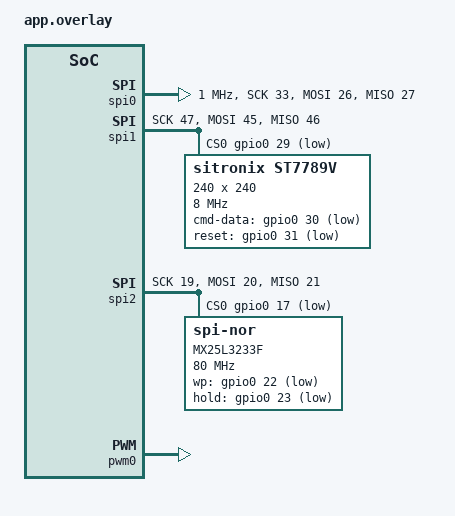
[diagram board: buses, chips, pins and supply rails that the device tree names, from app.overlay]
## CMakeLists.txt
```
# SPDX-License-Identifier: Apache-2.0

cmake_minimum_required(VERSION 3.13.1)

find_package(Zephyr REQUIRED HINTS $ENV{ZEPHYR_BASE})
project(DAC)

target_sources(app PRIVATE src/main.c)

zephyr_library_include_directories(
  src/events
  configuration
  )

add_subdirectory(src/events)
add_subdirectory(src/modules)
```

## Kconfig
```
menu "Press application"
rsource "src/modules/Kconfig"
rsource "src/events/Kconfig"
endmenu

menu "Zephyr Kernel"
source "Kconfig.zephyr"
endmenu
```

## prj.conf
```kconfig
#CONFIG_NO_OPTIMIZATIONS=y
CONFIG_HEAP_MEM_POOL_SIZE=8192
CONFIG_SYSTEM_WORKQUEUE_STACK_SIZE=2048

CONFIG_ASSERT=y

CONFIG_EVENT_MANAGER=y
CONFIG_LINKER_ORPHAN_SECTION_PLACE=y

CONFIG_LOG=y
CONFIG_LOG_PROCESS_THREAD_STACK_SIZE=2048
CONFIG_LOG_STRDUP_BUF_COUNT=64
CONFIG_USE_SEGGER_RTT=y
CONFIG_LOG_BACKEND_RTT=y
CONFIG_LOG_BACKEND_RTT_MODE_DROP=y

CONFIG_PRESS_LOG_MODULE_STATE_EVENT=y
CONFIG_PRESS_LOG_POTMETER_CTRL_EVENT=y
CONFIG_PRESS_LOG_POTMETER_DATA_EVENT=y
CONFIG_PRESS_LOG_HX711_DATA_EVENT=y
CONFIG_PRESS_LOG_TB6612FNG_CTRL_EVENT=y

CONFIG_PRESS_HX711_SENSOR_CHN_A_ENABLE=y
CONFIG_PRESS_HX711_SENSOR_CHN_B_ENABLE=n
CONFIG_PRESS_HX711_SENSOR_CHN_A_GAIN_128=y

CONFIG_DISPLAY_REFRESH_RATE=30

CONFIG_CONTROLLER_CYCLE=2500
CONFIG_CONTROLLER_HYSTERESIS=250

CONFIG_POTMETER_STEP_COUNT=100

CONFIG_ADC=y
CONFIG_GPIO=y
CONFIG_SPI=y
CONFIG_PWM=y
CONFIG_SERIAL=n

CONFIG_NRFX_SPI0=y
CONFIG_NRFX_SPI1=y
CONFIG_NRFX_SPI2=y

CONFIG_FLASH=y
CONFIG_SPI_NOR=y

CONFIG_DISPLAY=y
CONFIG_ST7789V=y
CONFIG_ST7789V_RGB565=y

CONFIG_LVGL=y
CONFIG_LVGL_USE_LABEL=y
CONFIG_LVGL_USE_CONT=y
CONFIG_LVGL_USE_BTN=y
CONFIG_LVGL_USE_THEME_MATERIAL=y
CONFIG_LVGL_DISPLAY_DEV_NAME="ST7789V"
CONFIG_LVGL_HOR_RES_MAX=240
CONFIG_LVGL_VER_RES_MAX=240
CONFIG_LVGL_BITS_PER_PIXEL=16
CONFIG_LVGL_COLOR_DEPTH_16=y
CONFIG_LVGL_COLOR_16_SWAP=y
CONFIG_LVGL_FONT_MONTSERRAT_24=y
```

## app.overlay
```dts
/*
 * Copyright (c) 2019 Linaro Limited
 *
 * SPDX-License-Identifier: Apache-2.0
 */

/* HX711 */
&spi0 {
	compatible = "nordic,nrf-spim";
	status = "okay";
	mosi-pin = <26>;
	miso-pin = <27>;
	sck-pin = <33>;
	clock-frequency = <1000000>;
};

/* ST7789 */
&spi1 {
	status = "okay";
	mosi-pin = <45>;
	miso-pin = <46>;
	sck-pin = <47>;
	cs-gpios = <&gpio0 29 GPIO_ACTIVE_LOW>;

	st7789v@0 {
		compatible = "sitronix,st7789v";
		label = "ST7789V";
		spi-max-frequency = <8000000>;
		reg = <0>;
		cmd-data-gpios = <&gpio0 30 GPIO_ACTIVE_LOW>;
		reset-gpios = <&gpio0 31 GPIO_ACTIVE_LOW>;
		width = <240>;
		height = <240>;
		x-offset = <0>;
		y-offset = <0>;
		vcom = <0x19>;
		gctrl = <0x35>;
		vrhs = <0x12>;
		vdvs = <0x20>;
		mdac = <0x00>;
		gamma = <0x01>;
		colmod = <0x05>;
		lcm = <0x2c>;
		porch-param = [0c 0c 00 33 33];
		cmd2en-param = [5a 69 02 01];
		pwctrl1-param = [a4 a1];
		pvgam-param = [D0 04 0D 11 13 2B 3F 54 4C 18 0D 0B 1F 23];
		nvgam-param = [D0 04 0C 11 13 2C 3F 44 51 2F 1F 1F 20 23];
		ram-param = [00 F0];
		rgb-param = [CD 08 14];
	};
};

&spi2 { /* dedicated MX25L */
	compatible = "nordic,nrf-spi";
	status = "okay";
	sck-pin = <19>;
	mosi-pin = <20>;
	miso-pin = <21>;
	cs-gpios = <&gpio0 17 GPIO_ACTIVE_LOW>;
	mx25l32: mx25l3233f@0 {
		compatible = "jedec,spi-nor";
		label = "MX25L3233F";
		reg = <0>;
		spi-max-frequency = <80000000>;
		wp-gpios = <&gpio0 22 GPIO_ACTIVE_LOW>;
		hold-gpios = <&gpio0 23 GPIO_ACTIVE_LOW>;
		size = <0x2000000>;
		has-dpd;
		t-enter-dpd = <10000>;
		t-exit-dpd = <100000>;
		jedec-id = [c2 20 16];
		sfdp-bfp = [
			e5 20 f1 ff  ff ff ff 01  44 eb 08 6b  08 3b 04 bb
			ee ff ff ff  ff ff 00 ff  ff ff 00 ff  0c 20 0f 52
			10 d8 00 ff
		];
	};
};

&gpio0 {
	status = "okay";
};

&gpio1 {
	status = "okay";
};

/* TB6612FNG */
&pwm0 {
	status = "okay";
	ch0-pin = <44>;
	label = "PWM_TB6612FNG";
};
```

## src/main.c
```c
/*
 * Copyright (c) 2020 Libre Solar Technologies GmbH
 *
 * SPDX-License-Identifier: Apache-2.0
 */
#include <kernel.h>

#include <event_manager.h>

#define MODULE main
#include "module_state_event.h"

#include <logging/log.h>
LOG_MODULE_REGISTER(MODULE);

void main(void)
{
	if (event_manager_init()) {
		LOG_ERR("Event manager not initialized");
	} else {
		module_set_state(MODULE_STATE_READY);
	}
}
```
